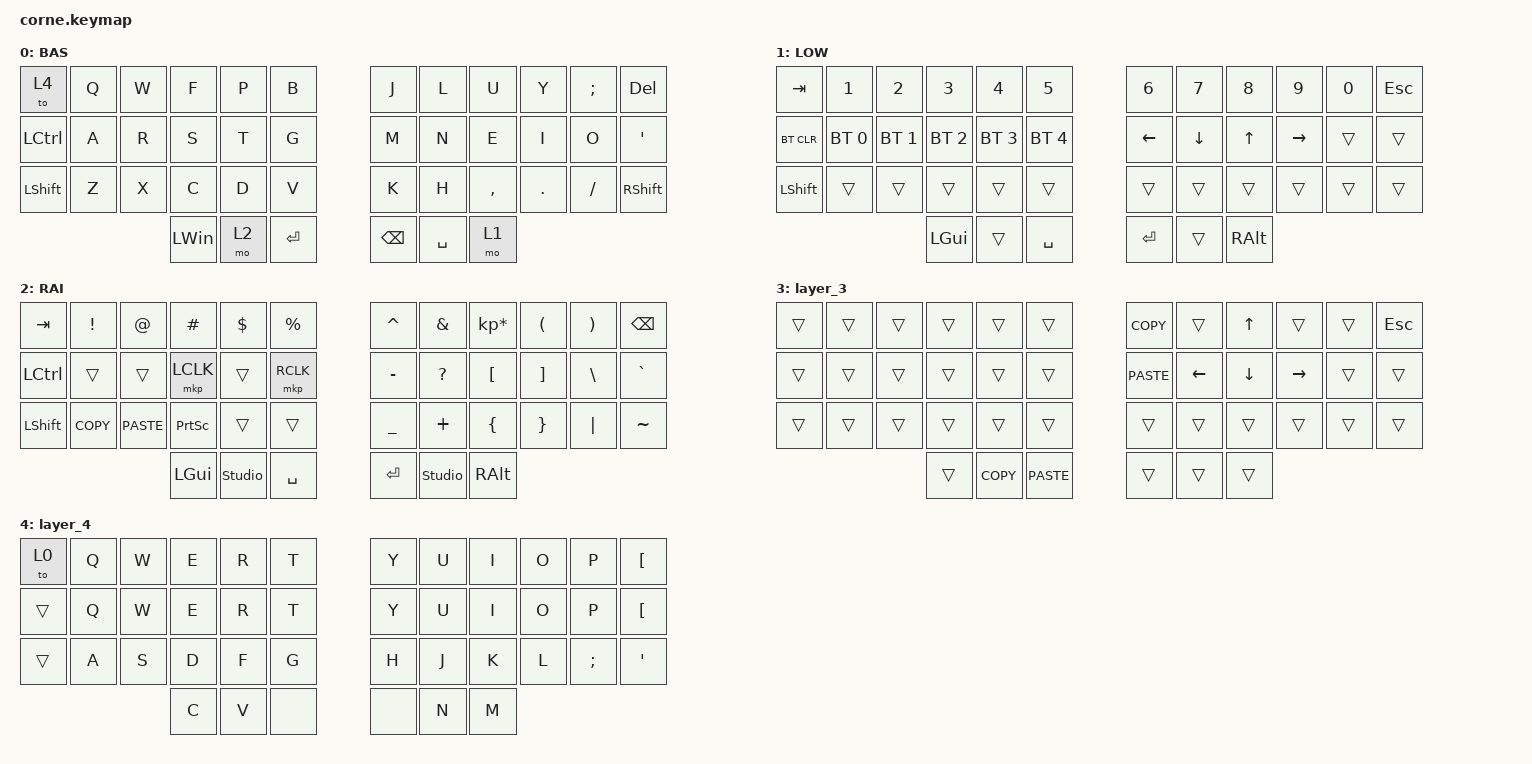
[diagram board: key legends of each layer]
/*
 * Copyright (c) 2020 The ZMK Contributors
 *
 * SPDX-License-Identifier: MIT
 */

#include <dt-bindings/zmk/mouse.h>
#include <behaviors.dtsi>
#include <dt-bindings/zmk/bt.h>
#include <dt-bindings/zmk/keys.h>
#include <dt-bindings/zmk/pointing.h>

/ {
    keymap {
        compatible = "zmk,keymap";

        default_layer {
            display-name = "BAS";

            // -----------------------------------------------------------------------------------------
            // |  TAB |  Q  |  W  |  E  |  R  |  T  |   |  Y  |  U   |  I  |  O  |  P  | BKSP |
            // | CTRL |  A  |  S  |  D  |  F  |  G  |   |  H  |  J   |  K  |  L  |  ;  |  '   |
            // | SHFT |  Z  |  X  |  C  |  V  |  B  |   |  N  |  M   |  ,  |  .  |  /  | ESC  |
            //                    | GUI | LWR | SPC |   | ENT | RSE  | ALT |

            bindings = <
&to 4      &kp Q  &kp W  &kp F         &kp P  &kp B        &kp J          &kp L      &kp U      &kp Y    &kp SEMICOLON  &kp DEL
&kp LCTRL  &kp A  &kp R  &kp S         &kp T  &kp G        &kp M          &kp N      &kp E      &kp I    &kp O          &kp SQT
&kp LSHFT  &kp Z  &kp X  &kp C         &kp D  &kp V        &kp K          &kp H      &kp COMMA  &kp DOT  &kp FSLH       &kp RIGHT_SHIFT
                         &kp LEFT_WIN  &mo 2  &kp ENTER    &kp BACKSPACE  &kp SPACE  &mo 1
            >;
        };

        lower_layer {
            display-name = "LOW";

            // -----------------------------------------------------------------------------------------
            // |  TAB |  1  |  2  |  3  |  4  |  5  |   |  6  |  7  |  8  |  9  |  0  | BKSP |
            // | BTCLR| BT1 | BT2 | BT3 | BT4 | BT5 |   | LFT | DWN |  UP | RGT |     |      |
            // | SHFT |     |     |     |     |     |   |     |     |     |     |     |      |
            //                    | GUI |     | SPC |   | ENT |     | ALT |

            bindings = <
&kp TAB     &kp N1        &kp N2        &kp N3        &kp N4        &kp N5          &kp N6    &kp N7    &kp N8    &kp N9     &kp N0  &kp ESCAPE
&bt BT_CLR  &bt BT_SEL 0  &bt BT_SEL 1  &bt BT_SEL 2  &bt BT_SEL 3  &bt BT_SEL 4    &kp LEFT  &kp DOWN  &kp UP    &kp RIGHT  &trans  &trans
&kp LSHFT   &trans        &trans        &trans        &trans        &trans          &trans    &trans    &trans    &trans     &trans  &trans
                                        &kp LGUI      &trans        &kp SPACE       &kp RET   &trans    &kp RALT
            >;
        };

        raise_layer {
            display-name = "RAI";

            // -----------------------------------------------------------------------------------------
            // |  TAB |  !  |  @  |  #  |  $  |  %  |   |  ^  |  &  |  *  |  (  |  )  | BKSP |
            // | CTRL |     |     |     |     |     |   |  -  |  =  |  [  |  ]  |  \  |  `   |
            // | SHFT |     |     |     |     |     |   |  _  |  +  |  {  |  }  | "|" |  ~   |
            //                    | GUI |     | SPC |   | ENT |     | ALT |

            bindings = <
&kp TAB    &kp EXCL    &kp AT       &kp HASH   &kp DLLR        &kp PRCNT    &kp CARET  &kp AMPS        &kp KP_MULTIPLY  &kp LPAR  &kp RPAR  &kp BSPC
&kp LCTRL  &trans      &trans       &mkp LCLK  &trans          &mkp RCLK    &kp MINUS  &kp QUESTION    &kp LBKT         &kp RBKT  &kp BSLH  &kp GRAVE
&kp LSHFT  &kp K_COPY  &kp K_PASTE  &kp PSCRN  &trans          &trans       &kp UNDER  &kp PLUS        &kp LBRC         &kp RBRC  &kp PIPE  &kp TILDE
                                    &kp LGUI   &studio_unlock  &kp SPACE    &kp RET    &studio_unlock  &kp RALT
            >;
        };

        layer_3 {
            bindings = <
&trans  &trans  &trans  &trans  &trans      &trans         &kp K_COPY   &trans          &kp UP_ARROW  &trans     &trans  &kp ESCAPE
&trans  &trans  &trans  &trans  &trans      &trans         &kp K_PASTE  &kp LEFT_ARROW  &kp DOWN      &kp RIGHT  &trans  &trans
&trans  &trans  &trans  &trans  &trans      &trans         &trans       &trans          &trans        &trans     &trans  &trans
                        &trans  &kp K_COPY  &kp K_PASTE    &trans       &trans          &trans
            >;
        };

        layer_4 {
            bindings = <
&to 0   &kp Q  &kp W  &kp E  &kp R  &kp T    &kp Y  &kp U  &kp I  &kp O  &kp P          &kp LEFT_BRACKET
&trans  &kp Q  &kp W  &kp E  &kp R  &kp T    &kp Y  &kp U  &kp I  &kp O  &kp P          &kp LEFT_BRACKET
&trans  &kp A  &kp S  &kp D  &kp F  &kp G    &kp H  &kp J  &kp K  &kp L  &kp SEMICOLON  &kp SQT
                      &kp C  &kp V  &none    &none  &kp N  &kp M
            >;
        };
    };
};
